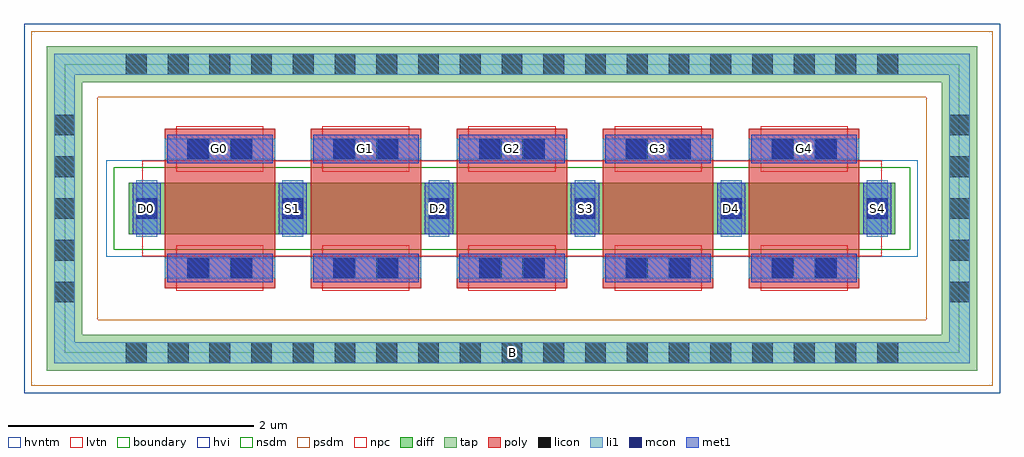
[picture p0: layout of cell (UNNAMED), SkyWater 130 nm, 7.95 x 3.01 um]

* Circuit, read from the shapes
.subckt (UNNAMED) B D0 D2 D4 G0 G1 G2 G3 G4 S1 S3 S4
XM1 S1 G0 D0 B sky130_fd_pr__nfet_05v0_nvt w=0.42 l=0.9
XM2 D2 G1 S1 B sky130_fd_pr__nfet_05v0_nvt w=0.42 l=0.9
XM3 S3 G2 D2 B sky130_fd_pr__nfet_05v0_nvt w=0.42 l=0.9
XM4 D4 G3 S3 B sky130_fd_pr__nfet_05v0_nvt w=0.42 l=0.9
XM5 S4 G4 D4 B sky130_fd_pr__nfet_05v0_nvt w=0.42 l=0.9
.ends

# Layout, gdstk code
import gdstk
lib = gdstk.Library(unit=1e-6, precision=1e-09)
def R(c, l, rs):  # rectangles x0, y0, x1, y1
    for r in rs: c.add(gdstk.rectangle(r[:2], r[2:], *l))
def A(c, l, x, y, w, h, nx, ny, dx, dy):  # array of equal rectangles
    R(c, l, [(x+i*dx, y+j*dy, x+i*dx+w, y+j*dy+h) for i in range(nx) for j in range(ny)])
diff = (65, 20)
tap = (65, 44)
poly = (66, 20)
licon = (66, 44)
li1 = (67, 20)
mcon = (67, 44)
met1 = (68, 20)
hvi = (75, 20)
nsdm = (93, 44)
psdm = (94, 20)
npc = (95, 20)
hvntm = (125, 20)
lvtn = (125, 44)
boundary = (235, 4)

c__unnamed_ = lib.new_cell('(UNNAMED)')
R(c__unnamed_, diff, [(-3.12,-0.21,3.12,0.21)])
R(c__unnamed_, tap, [(-3.79,-1.32,3.79,-1.03), (-3.79,-1.03,-3.5,1.03), (3.5,-1.03,3.79,1.03), (-3.79,1.03,3.79,1.32)])
A(c__unnamed_, poly, -2.83, -0.65, 0.9, 1.3, 5, 1, 1.19, 0)
A(c__unnamed_, licon, -3.145, -1.26, 0.17, 0.17, 19, 2, 0.34, 2.35)
A(c__unnamed_, licon, -3.73, -0.765, 0.17, 0.17, 1, 5, 0, 0.34)
A(c__unnamed_, licon, 3.56, -0.765, 0.17, 0.17, 1, 5, 0, 0.34)
A(c__unnamed_, licon, -3.06, -0.085, 0.17, 0.17, 6, 1, 1.19, 0)
R(c__unnamed_, licon, [(-2.635,-0.57,-2.465,-0.4), (-2.295,-0.57,-2.125,-0.4), (-1.445,-0.57,-1.275,-0.4), (-1.105,-0.57,-0.935,-0.4), (-0.255,-0.57,-0.085,-0.4), (0.085,-0.57,0.255,-0.4), (0.935,-0.57,1.105,-0.4), (1.275,-0.57,1.445,-0.4), (2.125,-0.57,2.295,-0.4), (2.465,-0.57,2.635,-0.4), (-2.635,0.4,-2.465,0.57), (-2.295,0.4,-2.125,0.57), (-1.445,0.4,-1.275,0.57), (-1.105,0.4,-0.935,0.57), (-0.255,0.4,-0.085,0.57), (0.085,0.4,0.255,0.57), (0.935,0.4,1.105,0.57), (1.275,0.4,1.445,0.57), (2.125,0.4,2.295,0.57), (2.465,0.4,2.635,0.57)])
A(c__unnamed_, li1, -2.83, -0.57, 0.9, 0.17, 5, 2, 1.19, 0.97)
A(c__unnamed_, li1, -3.06, -0.23, 0.17, 0.46, 6, 1, 1.19, 0)
R(c__unnamed_, li1, [(-3.73,-1.26,3.73,-1.09), (-3.73,-1.09,-3.56,1.09), (3.56,-1.09,3.73,1.09), (-3.73,1.09,3.73,1.26)])
A(c__unnamed_, mcon, -3.06, -0.085, 0.17, 0.17, 6, 1, 1.19, 0)
R(c__unnamed_, mcon, [(-2.645,-0.57,-2.475,-0.4), (-2.285,-0.57,-2.115,-0.4), (-1.455,-0.57,-1.285,-0.4), (-1.095,-0.57,-0.925,-0.4), (-0.265,-0.57,-0.095,-0.4), (0.095,-0.57,0.265,-0.4), (0.925,-0.57,1.095,-0.4), (1.285,-0.57,1.455,-0.4), (2.115,-0.57,2.285,-0.4), (2.475,-0.57,2.645,-0.4), (-2.645,0.4,-2.475,0.57), (-2.285,0.4,-2.115,0.57), (-1.455,0.4,-1.285,0.57), (-1.095,0.4,-0.925,0.57), (-0.265,0.4,-0.095,0.57), (0.095,0.4,0.265,0.57), (0.925,0.4,1.095,0.57), (1.285,0.4,1.455,0.57), (2.115,0.4,2.285,0.57), (2.475,0.4,2.645,0.57)])
A(c__unnamed_, met1, -2.81, -0.6, 0.86, 0.23, 5, 2, 1.19, 0.97)
A(c__unnamed_, met1, -3.09, -0.21, 0.23, 0.42, 6, 1, 1.19, 0)
R(c__unnamed_, hvi, [(-3.975,-1.505,3.975,1.505)])
R(c__unnamed_, nsdm, [(-3.245,-0.335,3.245,0.335)])
R(c__unnamed_, psdm, [(-3.915,-1.445,3.915,-0.905), (-3.915,-0.905,-3.375,0.905), (3.375,-0.905,3.915,0.905), (-3.915,0.905,3.915,1.445)])
A(c__unnamed_, npc, -2.735, -0.67, 0.71, 0.37, 5, 2, 1.19, 0.97)
R(c__unnamed_, hvntm, [(-3.305,-0.395,3.305,0.395)])
R(c__unnamed_, lvtn, [(-3.01,-0.39,3.01,0.39)])
R(c__unnamed_, boundary, [(-3.645,-1.175,3.645,1.175)])
c__unnamed_.add(gdstk.Label('B', (0,-1.175), layer=67, texttype=5))
c__unnamed_.add(gdstk.Label('D0', (-2.975,0), layer=67, texttype=5))
c__unnamed_.add(gdstk.Label('G0', (-2.38,0.485), layer=67, texttype=5))
c__unnamed_.add(gdstk.Label('S1', (-1.785,0), layer=67, texttype=5))
c__unnamed_.add(gdstk.Label('G1', (-1.19,0.485), layer=67, texttype=5))
c__unnamed_.add(gdstk.Label('D2', (-0.595,0), layer=67, texttype=5))
c__unnamed_.add(gdstk.Label('G2', (0,0.485), layer=67, texttype=5))
c__unnamed_.add(gdstk.Label('S3', (0.595,0), layer=67, texttype=5))
c__unnamed_.add(gdstk.Label('G3', (1.19,0.485), layer=67, texttype=5))
c__unnamed_.add(gdstk.Label('D4', (1.785,0), layer=67, texttype=5))
c__unnamed_.add(gdstk.Label('S4', (2.975,0), layer=67, texttype=5))
c__unnamed_.add(gdstk.Label('G4', (2.38,0.485), layer=67, texttype=5))

lib.write_gds('_UNNAMED_.gds')
